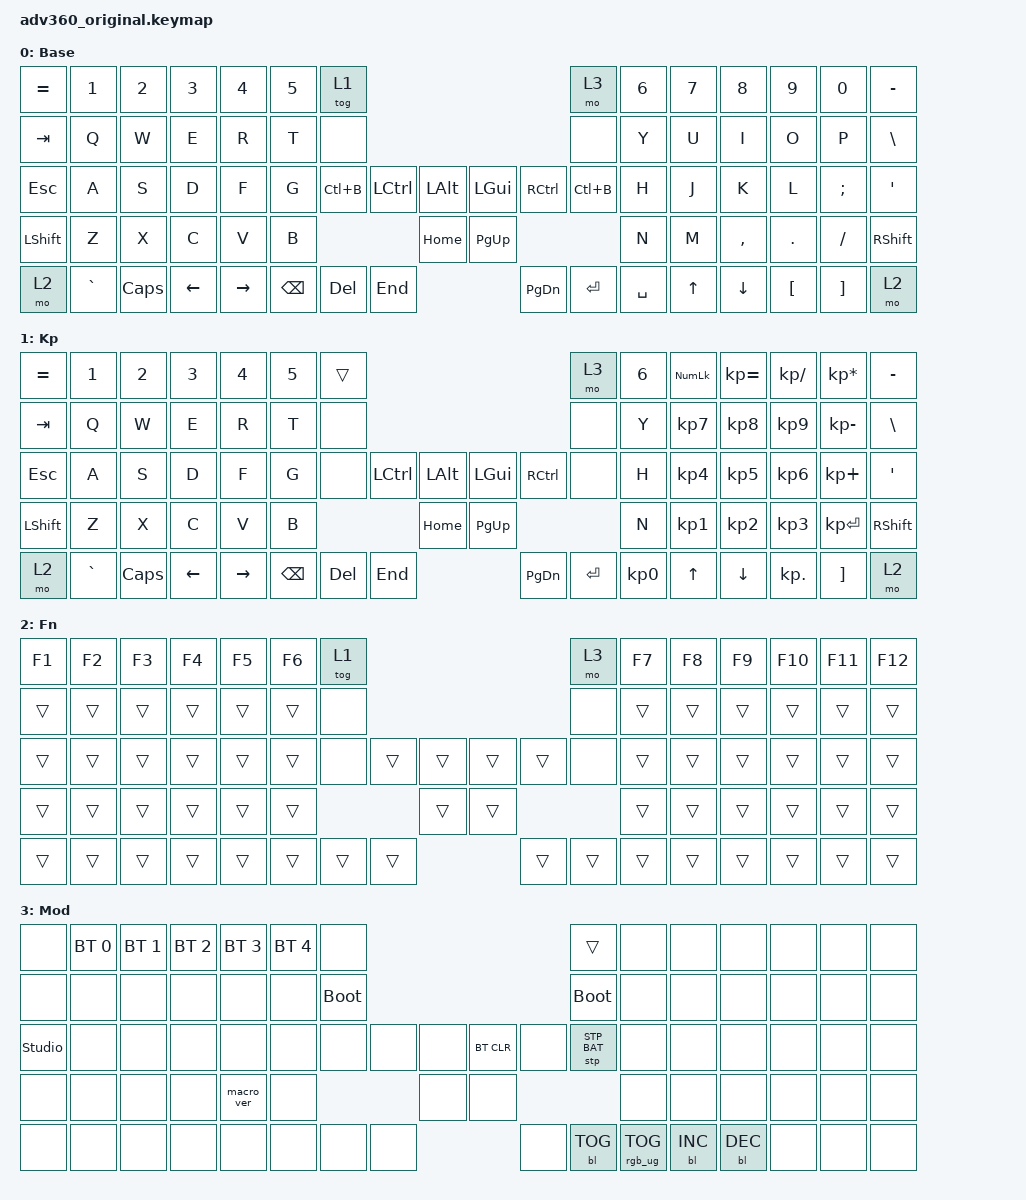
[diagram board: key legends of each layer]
#include <behaviors.dtsi>
#include <dt-bindings/zmk/keys.h>
#include <dt-bindings/zmk/bt.h>
#include <dt-bindings/zmk/rgb.h>
#include <dt-bindings/zmk/stp.h>
#include <dt-bindings/zmk/backlight.h>
#include <dt-bindings/zmk/pointing.h>

// #define KEYS_LEFT 0 1 2 3 4 5 6 \
//                   14 15 16 17 18 19 20 \
//                   28 29 30 31 32 33 34 \
//                   46 47 48 49 50 51 \
//                   60 61 62 63 64

// #define KEYS_RIGHT 7 8 9 10 11 12 13 \
//                    21 22 23 24 25 26 27 \
//                    39 40 41 42 43 44 45 \
//                    54 55 56 57 58 59 \
//                    71 72 73 74 75

// #define THUMBS_LEFT 35 36 52 65 66 67

// #define THUMBS_RIGHT 37 38 53 68 69 70

/ {
    combos {
      compatible = "zmk,combos";
      combo_volume_up {
        timeout-ms = <50>;
        key-positions = <46 71>;
        // Alternative: C_VOLUME_UP
        bindings = <&kp K_VOLUME_UP>;
      };
      combo_volume_down {
        timeout-ms = <50>;
        key-positions = <46 72>;
        // Alternative: C_VOLUME_DOWN
        bindings = <&kp K_VOLUME_DOWN>;
      };
      combo_media_next {
        timeout-ms = <50>;
        key-positions = <59 64>;
        // Alternative: C_NEXT
        bindings = <&kp K_NEXT>;
      };
      combo_media_prev {
        timeout-ms = <50>;
        key-positions = <59 63>;
        // Alternative: C_PREVIOUS
        bindings = <&kp K_PREVIOUS>;
      };
      combo_media_play_pause_1 {
        timeout-ms = <50>;
        key-positions = <39 46>;
        // Alternative: C_PLAY_PAUSE
        bindings = <&kp K_PLAY_PAUSE>;
      };
      combo_media_play_pause_2 {
        timeout-ms = <50>;
        key-positions = <34 59>;
        // Alternative: C_PLAY_PAUSE
        bindings = <&kp K_PLAY_PAUSE>;
      };
    };
};

/ {
    behaviors {
      #include "macros.dtsi"
      #include "version.dtsi"

      hm: homerow_mods {
          compatible = "zmk,behavior-hold-tap";
          label = "HOMEROW_MODS";
          #binding-cells = <2>;
          tapping-term-ms = <200>;
          quick_tap_ms = <175>;
          flavor = "tap-preferred";
          bindings = <&kp>, <&kp>;
      };
    };

  keymap {
    compatible = "zmk,keymap";

    default_layer {
      display-name = "Base";
      bindings = <
        &kp EQUAL &kp N1    &kp N2   &kp N3   &kp N4     &kp N5 &tog 1                                                               &mo 3     &kp N6 &kp N7 &kp N8    &kp N9   &kp N0   &kp MINUS
        &kp TAB   &kp Q     &kp W    &kp E    &kp R      &kp T  &none                                                                &none     &kp Y  &kp U  &kp I     &kp O    &kp P    &kp BSLH
        &kp ESC   &kp A     &kp S    &kp D    &kp F      &kp G  &kp LC(B)           &kp LCTRL &kp LALT &kp LGUI  &kp RCTRL           &kp LC(B) &kp H  &kp J  &kp K     &kp L    &kp SEMI &kp SQT
        &kp LSHFT &kp Z     &kp X    &kp C    &kp V      &kp B                                &kp HOME &kp PG_UP                               &kp N  &kp M  &kp COMMA &kp DOT  &kp FSLH &kp RSHFT
        &mo 2     &kp GRAVE &kp CAPS &kp LEFT &kp RIGHT                    &kp BSPC &kp DEL   &kp END  &kp PG_DN &kp ENTER &kp SPACE                  &kp UP &kp DOWN  &kp LBKT &kp RBKT &mo 2
      >;
    };
    keypad {
      display-name = "Kp";
      bindings = <
        &kp EQUAL &kp N1    &kp N2   &kp N3   &kp N4     &kp N5 &trans                                                           &mo 3 &kp N6 &kp KP_NUM &kp KP_EQUAL &kp KP_DIVIDE &kp KP_MULTIPLY &kp MINUS
        &kp TAB   &kp Q     &kp W    &kp E    &kp R      &kp T  &none                                                            &none &kp Y  &kp KP_N7  &kp KP_N8    &kp KP_N9     &kp KP_MINUS    &kp BSLH
        &kp ESC   &kp A     &kp S    &kp D    &kp F      &kp G  &none           &kp LCTRL &kp LALT &kp LGUI  &kp RCTRL           &none &kp H  &kp KP_N4  &kp KP_N5    &kp KP_N6     &kp KP_PLUS     &kp SQT
        &kp LSHFT &kp Z     &kp X    &kp C    &kp V      &kp B                            &kp HOME &kp PG_UP                           &kp N  &kp KP_N1  &kp KP_N2    &kp KP_N3     &kp KP_ENTER    &kp RSHFT
        &mo 2     &kp GRAVE &kp CAPS &kp LEFT &kp RIGHT                &kp BSPC &kp DEL   &kp END  &kp PG_DN &kp ENTER &kp KP_N0              &kp UP     &kp DOWN     &kp KP_DOT    &kp RBKT        &mo 2
      >;
    };
    fn {
      display-name = "Fn";
      bindings = <
        &kp F1 &kp F2 &kp F3 &kp F4 &kp F5 &kp F6 &tog 1                                           &mo 3 &kp F7 &kp F8 &kp F9 &kp F10 &kp F11 &kp F12
        &trans &trans &trans &trans &trans &trans  &none                                           &none &trans &trans &trans &trans  &trans  &trans
        &trans &trans &trans &trans &trans &trans  &none        &trans &trans &trans &trans        &none &trans &trans &trans &trans  &trans  &trans
        &trans &trans &trans &trans &trans &trans                      &trans &trans                     &trans &trans &trans &trans  &trans  &trans
        &trans &trans &trans &trans &trans               &trans &trans &trans &trans &trans &trans              &trans &trans &trans  &trans  &trans
      >;
    };
    mod {
      display-name = "Mod";
      bindings = <
        &none &bt BT_SEL 0 &bt BT_SEL 1 &bt BT_SEL 2 &bt BT_SEL 3 &bt BT_SEL 4 &none                                                                     &trans                 &none        &none        &none        &none &none &none
        &none &none        &none        &none        &none        &none        &bootloader                                                               &bootloader            &none        &none        &none        &none &none &none
        &studio_unlock &none        &none        &none        &none        &none        &none                   &none &none &bt BT_CLR &none                      &stp STP_BAT &none        &none        &none        &none &none &none
        &none &none        &none        &none        &macro_ver   &none                                      &none &none                                                        &none        &none        &none        &none &none &none
        &none &none        &none        &none        &none                                       &none &none &none &none      &bl BL_TOG &rgb_ug RGB_TOG                                     &bl BL_INC   &bl BL_DEC   &none &none &none
      >;
    };
    extra1 { 
      display-name = "Red";    
      status = "reserved";
    };

    extra2 { 
      display-name = "Purple";    
      status = "reserved";
    };

    extra3 { 
      display-name = "Cyan";    
      status = "reserved";
    };

    extra4 { 
      display-name = "Yellow";    
      status = "reserved";
    };
  };
};
